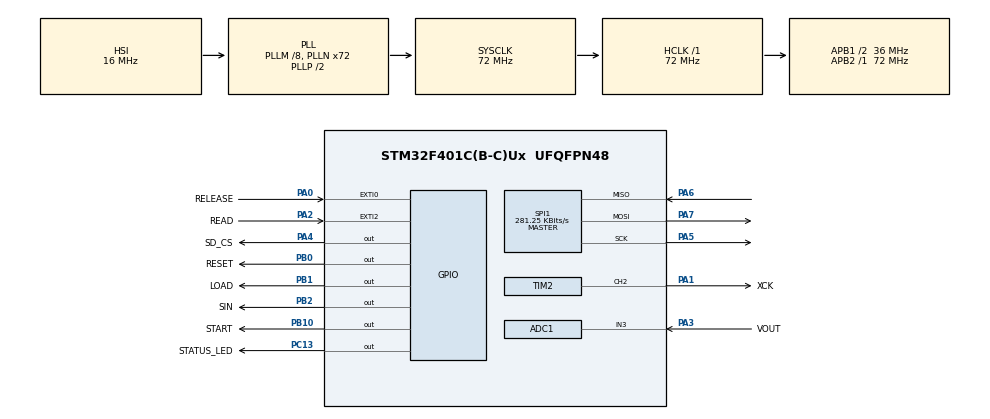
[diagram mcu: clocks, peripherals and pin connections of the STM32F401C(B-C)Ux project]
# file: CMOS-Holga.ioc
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ADC1.Channel-0\#ChannelRegularConversion=ADC_CHANNEL_3
ADC1.ClockPrescaler=ADC_CLOCK_SYNC_PCLK_DIV2
ADC1.NbrOfConversionFlag=1
ADC1.Resolution=ADC_RESOLUTION_8B
ADC1.master=1
Mcu.Family=STM32F4
Mcu.Name=STM32F401C(B-C)Ux
Mcu.Package=UFQFPN48
NVIC.EXTI0_IRQn=true\:2\:0\:true\:false\:true\:true\:true\:true
NVIC.EXTI2_IRQn=true\:3\:0\:true\:false\:true\:true\:true\:true
NVIC.PriorityGroup=NVIC_PRIORITYGROUP_4
NVIC.TIM2_IRQn=true\:0\:0\:false\:false\:true\:true\:true\:true
PA0-WKUP.GPIO_Label=RELEASE
PA0-WKUP.GPIO_ModeDefaultEXTI=GPIO_MODE_IT_FALLING
PA0-WKUP.GPIO_PuPd=GPIO_PULLUP
PA0-WKUP.Signal=GPXTI0
PA1.GPIO_Label=XCK
PA1.Signal=S_TIM2_CH2
PA13.Mode=Serial_Wire
PA13.Signal=SYS_JTMS-SWDIO
PA14.Mode=Serial_Wire
PA14.Signal=SYS_JTCK-SWCLK
PA2.GPIO_Label=READ
PA2.GPIO_ModeDefaultEXTI=GPIO_MODE_IT_RISING_FALLING
PA2.Signal=GPXTI2
PA3.GPIO_Label=VOUT
PA3.GPIO_Mode=GPIO_MODE_ANALOG
PA3.GPIO_PuPd=GPIO_NOPULL
PA3.Signal=ADCx_IN3
PA4.GPIO_Label=SD_CS
PA4.GPIO_Speed=GPIO_SPEED_FREQ_HIGH
PA4.Signal=GPIO_Output
PA5.Mode=Full_Duplex_Master
PA5.Signal=SPI1_SCK
PA6.GPIO_PuPd=GPIO_PULLUP
PA6.Mode=Full_Duplex_Master
PA6.Signal=SPI1_MISO
PA7.GPIO_PuPd=GPIO_PULLUP
PA7.Mode=Full_Duplex_Master
PA7.Signal=SPI1_MOSI
PB0.GPIO_Label=RESET
PB0.GPIO_PuPd=GPIO_PULLUP
PB0.GPIO_Speed=GPIO_SPEED_FREQ_HIGH
PB0.Signal=GPIO_Output
PB1.GPIO_Label=LOAD
PB1.GPIO_Speed=GPIO_SPEED_FREQ_HIGH
PB1.Signal=GPIO_Output
PB10.GPIO_Label=START
PB10.GPIO_Speed=GPIO_SPEED_FREQ_HIGH
PB10.Signal=GPIO_Output
PB2.GPIO_Label=SIN
PB2.GPIO_Speed=GPIO_SPEED_FREQ_HIGH
PB2.Signal=GPIO_Output
PC13-ANTI_TAMP.GPIO_Label=STATUS_LED
PC13-ANTI_TAMP.GPIO_PuPd=GPIO_PULLUP
PC13-ANTI_TAMP.PinState=GPIO_PIN_SET
PC13-ANTI_TAMP.Signal=GPIO_Output
PC14-OSC32_IN.Mode=LSE-External-Oscillator
PC14-OSC32_IN.Signal=RCC_OSC32_IN
PC15-OSC32_OUT.Mode=LSE-External-Oscillator
PC15-OSC32_OUT.Signal=RCC_OSC32_OUT
PH0\ -\ OSC_IN.Mode=HSE-External-Oscillator
PH0\ -\ OSC_IN.Signal=RCC_OSC_IN
PH1\ -\ OSC_OUT.Mode=HSE-External-Oscillator
PH1\ -\ OSC_OUT.Signal=RCC_OSC_OUT
ProjectManager.HeapSize=0x200
ProjectManager.StackSize=0x400
ProjectManager.TargetToolchain=STM32CubeIDE
RCC.48MHZClocksFreq_Value=36000000
RCC.AHBFreq_Value=72000000
RCC.APB1CLKDivider=RCC_HCLK_DIV2
RCC.APB1Freq_Value=36000000
RCC.APB1TimFreq_Value=72000000
RCC.APB2Freq_Value=72000000
RCC.APB2TimFreq_Value=72000000
RCC.CortexFreq_Value=72000000
RCC.HCLKFreq_Value=72000000
RCC.HSE_VALUE=25000000
RCC.HSI_VALUE=16000000
RCC.PLLM=8
RCC.PLLN=72
RCC.SYSCLKFreq_VALUE=72000000
RCC.SYSCLKSource=RCC_SYSCLKSOURCE_PLLCLK
RCC.VCOOutputFreq_Value=144000000
SH.ADCx_IN3.0=ADC1_IN3,IN3
SH.S_TIM2_CH2.0=TIM2_CH2,PWM Generation2 CH2
SPI1.BaudRatePrescaler=SPI_BAUDRATEPRESCALER_256
SPI1.CalculateBaudRate=281.25 KBits/s
SPI1.Direction=SPI_DIRECTION_2LINES
SPI1.Mode=SPI_MODE_MASTER
SPI1.VirtualType=VM_MASTER
TIM2.Channel-PWM\ Generation2\ CH2=TIM_CHANNEL_2
TIM2.OCFastMode_PWM-PWM\ Generation2\ CH2=TIM_OCFAST_ENABLE
TIM2.Period=18
TIM2.Prescaler=72
VP_FATFS_VS_Generic.Mode=User_defined
board=custom

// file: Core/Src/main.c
/* USER CODE BEGIN Header */
/**
  ******************************************************************************
  * @file           : main.c
  * @brief          : Main program body
  ******************************************************************************
  * @attention
  *
  * Copyright (c) 2023 STMicroelectronics.
  * All rights reserved.
  *
  * This software is licensed under terms that can be found in the LICENSE file
  * in the root directory of this software component.
  * If no LICENSE file comes with this software, it is provided AS-IS.
  *
  ******************************************************************************
  */
/* USER CODE END Header */
#include "main.h"
#include "fatfs.h"

/* USER CODE BEGIN Includes */
#include <stdint.h>
#include <stdio.h>
/* USER CODE END Includes */

/* USER CODE BEGIN PD */
#define IMAGE_WIDTH 128
#define IMAGE_HEIGHT 126
#define IMAGE_SIZE 16128
/* 128 x 122 = 15616 */
#define IMAGE_DATA 15616
/* USER CODE END PD */

/* USER CODE BEGIN PM */
#define RESET_low() HAL_GPIO_WritePin(RESET_GPIO_Port, RESET_Pin, GPIO_PIN_RESET)
#define RESET_high() HAL_GPIO_WritePin(RESET_GPIO_Port, RESET_Pin, GPIO_PIN_SET)

#define START_low() HAL_GPIO_WritePin(START_GPIO_Port, START_Pin, GPIO_PIN_RESET)
#define START_high() HAL_GPIO_WritePin(START_GPIO_Port, START_Pin, GPIO_PIN_SET)

#define READ() HAL_GPIO_ReadPin(READ_GPIO_Port, READ_Pin)

#define LOAD_low() HAL_GPIO_WritePin(LOAD_GPIO_Port, LOAD_Pin, GPIO_PIN_RESET)
#define LOAD_high() HAL_GPIO_WritePin(LOAD_GPIO_Port, LOAD_Pin, GPIO_PIN_SET)

#define SIN_put(x) HAL_GPIO_WritePin(SIN_GPIO_Port, SIN_Pin, x)
#define SIN_low() HAL_GPIO_WritePin(SIN_GPIO_Port, SIN_Pin, GPIO_PIN_RESET)

#define LED_on() HAL_GPIO_WritePin(STATUS_LED_GPIO_Port, STATUS_LED_Pin, GPIO_PIN_RESET)
#define LED_off() HAL_GPIO_WritePin(STATUS_LED_GPIO_Port, STATUS_LED_Pin, GPIO_PIN_SET)
/* USER CODE END PM */

ADC_HandleTypeDef hadc1;

SPI_HandleTypeDef hspi1;

TIM_HandleTypeDef htim2;

/* USER CODE BEGIN PV */
volatile int capturing = 0;
volatile int clock_phase;
volatile uint8_t image[IMAGE_SIZE];
volatile uint16_t image_cursor;
volatile total_gain_t gain_config;
/* USER CODE END PV */

void SystemClock_Config(void);
static void MX_GPIO_Init(void);
static void MX_SPI1_Init(void);
static void MX_ADC1_Init(void);
static void MX_TIM2_Init(void);
/* USER CODE BEGIN PFP */
void capture(void);
void delay_us(uint32_t us);
uint8_t get_average_brightness(void);
void load_register(uint8_t addr, uint8_t data);
void reset(void);
int save_picture(uint8_t* data);
void take_picture(total_gain_t gain);
void start_xck(void);
void stop_xck(void);
void wait_xck_fall(void);
void wait_xck_rise(void);
void wait_xck_cycle(void);
/* USER CODE END PFP */

/* USER CODE BEGIN 0 */
void capture(void)
{
  wait_xck_rise();
  START_high();
  wait_xck_cycle();
  START_low();
  wait_xck_fall();
}

void delay_us(uint32_t us)
{
  volatile uint32_t counter = 7*us;
  while(counter--);
}

uint8_t get_average_brightness(void)
{
  uint8_t average = 0;
  uint32_t sum = 0;

  for (int i = 0; i < IMAGE_DATA; i += 1)
  {
    sum += image[i];
  }
  average = sum / IMAGE_DATA;

  return average;
}

void load_register(uint8_t addr, uint8_t data)
{
  for (int i = 2; i >= 0; i--)
  {
    wait_xck_rise();
    SIN_put(addr & (1 << i));
    wait_xck_cycle();
    SIN_low();
  }

  for (int i = 7; i >= 1; i--)
  {
    wait_xck_rise();
    SIN_put(data & (1 << i));
    wait_xck_cycle();
    SIN_low();
  }

  wait_xck_rise();
  SIN_put(data & 0x01);
  LOAD_high();
  wait_xck_fall();
  SIN_low();
  wait_xck_rise();
  LOAD_low();
}

void reset(void)
{
  wait_xck_rise();
  RESET_low();
  wait_xck_cycle();
  RESET_high();
  wait_xck_fall();
}

int save_picture(uint8_t* data)
{
  FATFS fatfsh;
  FIL fileh;
  FILINFO fno;
  FRESULT fres;
  uint8_t header[15] = { 0x50, 0x35, 0x0A, 0x31, 0x32, 0x38, 0x20, 0x31, 0x32, 0x36, 0x0A, 0x32, 0x35, 0x35, 0x0A };
  char filename[13] = { 0 };
  int available = 0;
  unsigned int id = 1;

  fres = f_mount(&fatfsh, "", 1);
  if (FR_OK != fres)
  {
    goto exit;
  }

  fres = f_mkdir("RAW");
  if (FR_OK != fres)
  {
    if (FR_EXIST != fres)
    {
      goto exit;
    }
  }

  while (0 == available)
  {
    snprintf(filename, 13, "RAW/%04u.pgm", id);
    fres = f_stat(filename, &fno);
    switch (fres)
    {
      case FR_NO_FILE:
        available = 1;
        break;
      case FR_OK:
        id += 1;
        break;
      default:
        break;
    }
  }

  fres = f_open(&fileh, filename, FA_WRITE | FA_OPEN_ALWAYS | FA_CREATE_ALWAYS);
  if(FR_OK == fres)
  {
    UINT tmp = 0;

    fres = f_write(&fileh, header, 15, &tmp);
    if(FR_OK != fres)
    {
      // Error.
    }
    fres = f_write(&fileh, data, IMAGE_SIZE, &tmp);
    if(FR_OK != fres)
    {
      // Error.
    }
    f_close(&fileh);
  }

exit:
  f_mount(NULL, "", 0);
  return fres;
}

void take_picture(total_gain_t gain)
{
  uint8_t reg_1_value = 0xe0;

  RESET_high();
  START_low();
  LOAD_low();
  SIN_low();

  wait_xck_cycle();
  wait_xck_cycle();

  reset();
  wait_xck_cycle();
  wait_xck_cycle();

  load_register(0x00, 0x9f);

  reg_1_value |= gain;

  load_register(0x01, reg_1_value);
  load_register(0x02, 0x01);
  load_register(0x03, 0x00);
  load_register(0x04, 0x01);
  load_register(0x05, 0x00);
  load_register(0x06, 0x01);
  load_register(0x07, 0x03);

  wait_xck_cycle();
  capture();
}

void start_xck(void)
{
  htim2.Instance->CCR2 = 9;
  HAL_TIM_Base_Start_IT(&htim2);
  HAL_TIM_PWM_Start_IT(&htim2, TIM_CHANNEL_2);
}

void stop_xck(void)
{
  HAL_TIM_Base_Stop_IT(&htim2);
  HAL_TIM_PWM_Stop_IT(&htim2, TIM_CHANNEL_2);
}

void wait_xck_fall(void)
{
  while(1 == clock_phase);
}

void wait_xck_rise(void)
{
  while(0 == clock_phase);
}

void wait_xck_cycle(void)
{
  wait_xck_rise();
  wait_xck_fall();
}
/* USER CODE END 0 */

int main(void)
{

  /* MCU Configuration--------------------------------------------------------*/

  /* Reset of all peripherals, Initializes the Flash interface and the Systick. */
  HAL_Init();

  /* Configure the system clock */
  SystemClock_Config();

  /* Initialize all configured peripherals */
  MX_GPIO_Init();
  MX_SPI1_Init();
  MX_FATFS_Init();
  MX_ADC1_Init();
  MX_TIM2_Init();
  /* USER CODE BEGIN 2 */
  start_xck();
  gain_config = TG_14_0;
  take_picture(gain_config);
  /* USER CODE END 2 */

  /* Infinite loop */
  while (1)
  {

  }
}

void SystemClock_Config(void)
{
  RCC_OscInitTypeDef RCC_OscInitStruct = {0};
  RCC_ClkInitTypeDef RCC_ClkInitStruct = {0};

  /** Configure the main internal regulator output voltage
  */
  __HAL_RCC_PWR_CLK_ENABLE();
  __HAL_PWR_VOLTAGESCALING_CONFIG(PWR_REGULATOR_VOLTAGE_SCALE2);

  /** Initializes the RCC Oscillators according to the specified parameters
  * in the RCC_OscInitTypeDef structure.
  */
  RCC_OscInitStruct.OscillatorType = RCC_OSCILLATORTYPE_HSI;
  RCC_OscInitStruct.HSIState = RCC_HSI_ON;
  RCC_OscInitStruct.HSICalibrationValue = RCC_HSICALIBRATION_DEFAULT;
  RCC_OscInitStruct.PLL.PLLState = RCC_PLL_ON;
  RCC_OscInitStruct.PLL.PLLSource = RCC_PLLSOURCE_HSI;
  RCC_OscInitStruct.PLL.PLLM = 8;
  RCC_OscInitStruct.PLL.PLLN = 72;
  RCC_OscInitStruct.PLL.PLLP = RCC_PLLP_DIV2;
  RCC_OscInitStruct.PLL.PLLQ = 4;
  if (HAL_RCC_OscConfig(&RCC_OscInitStruct) != HAL_OK)
  {
    Error_Handler();
  }

  /** Initializes the CPU, AHB and APB buses clocks
  */
  RCC_ClkInitStruct.ClockType = RCC_CLOCKTYPE_HCLK|RCC_CLOCKTYPE_SYSCLK
                              |RCC_CLOCKTYPE_PCLK1|RCC_CLOCKTYPE_PCLK2;
  RCC_ClkInitStruct.SYSCLKSource = RCC_SYSCLKSOURCE_PLLCLK;
  RCC_ClkInitStruct.AHBCLKDivider = RCC_SYSCLK_DIV1;
  RCC_ClkInitStruct.APB1CLKDivider = RCC_HCLK_DIV2;
  RCC_ClkInitStruct.APB2CLKDivider = RCC_HCLK_DIV1;

  if (HAL_RCC_ClockConfig(&RCC_ClkInitStruct, FLASH_LATENCY_2) != HAL_OK)
  {
    Error_Handler();
  }
}

static void MX_ADC1_Init(void)
{

  ADC_ChannelConfTypeDef sConfig = {0};

  /** Configure the global features of the ADC (Clock, Resolution, Data Alignment and number of conversion)
  */
  hadc1.Instance = ADC1;
  hadc1.Init.ClockPrescaler = ADC_CLOCK_SYNC_PCLK_DIV2;
  hadc1.Init.Resolution = ADC_RESOLUTION_8B;
  hadc1.Init.ScanConvMode = DISABLE;
  hadc1.Init.ContinuousConvMode = DISABLE;
  hadc1.Init.DiscontinuousConvMode = DISABLE;
  hadc1.Init.ExternalTrigConvEdge = ADC_EXTERNALTRIGCONVEDGE_NONE;
  hadc1.Init.ExternalTrigConv = ADC_SOFTWARE_START;
  hadc1.Init.DataAlign = ADC_DATAALIGN_RIGHT;
  hadc1.Init.NbrOfConversion = 1;
  hadc1.Init.DMAContinuousRequests = DISABLE;
  hadc1.Init.EOCSelection = ADC_EOC_SINGLE_CONV;
  if (HAL_ADC_Init(&hadc1) != HAL_OK)
  {
    Error_Handler();
  }

  /** Configure for the selected ADC regular channel its corresponding rank in the sequencer and its sample time.
  */
  sConfig.Channel = ADC_CHANNEL_3;
  sConfig.Rank = 1;
  sConfig.SamplingTime = ADC_SAMPLETIME_3CYCLES;
  if (HAL_ADC_ConfigChannel(&hadc1, &sConfig) != HAL_OK)
  {
    Error_Handler();
  }

}

static void MX_SPI1_Init(void)
{

  /* SPI1 parameter configuration*/
  hspi1.Instance = SPI1;
  hspi1.Init.Mode = SPI_MODE_MASTER;
  hspi1.Init.Direction = SPI_DIRECTION_2LINES;
  hspi1.Init.DataSize = SPI_DATASIZE_8BIT;
  hspi1.Init.CLKPolarity = SPI_POLARITY_LOW;
  hspi1.Init.CLKPhase = SPI_PHASE_1EDGE;
  hspi1.Init.NSS = SPI_NSS_SOFT;
  hspi1.Init.BaudRatePrescaler = SPI_BAUDRATEPRESCALER_256;
  hspi1.Init.FirstBit = SPI_FIRSTBIT_MSB;
  hspi1.Init.TIMode = SPI_TIMODE_DISABLE;
  hspi1.Init.CRCCalculation = SPI_CRCCALCULATION_DISABLE;
  hspi1.Init.CRCPolynomial = 10;
  if (HAL_SPI_Init(&hspi1) != HAL_OK)
  {
    Error_Handler();
  }

}

static void MX_TIM2_Init(void)
{

  TIM_MasterConfigTypeDef sMasterConfig = {0};
  TIM_OC_InitTypeDef sConfigOC = {0};

  htim2.Instance = TIM2;
  htim2.Init.Prescaler = 72;
  htim2.Init.CounterMode = TIM_COUNTERMODE_UP;
  htim2.Init.Period = 18;
  htim2.Init.ClockDivision = TIM_CLOCKDIVISION_DIV1;
  htim2.Init.AutoReloadPreload = TIM_AUTORELOAD_PRELOAD_DISABLE;
  if (HAL_TIM_PWM_Init(&htim2) != HAL_OK)
  {
    Error_Handler();
  }
  sMasterConfig.MasterOutputTrigger = TIM_TRGO_RESET;
  sMasterConfig.MasterSlaveMode = TIM_MASTERSLAVEMODE_DISABLE;
  if (HAL_TIMEx_MasterConfigSynchronization(&htim2, &sMasterConfig) != HAL_OK)
  {
    Error_Handler();
  }
  sConfigOC.OCMode = TIM_OCMODE_PWM1;
  sConfigOC.Pulse = 0;
  sConfigOC.OCPolarity = TIM_OCPOLARITY_HIGH;
  sConfigOC.OCFastMode = TIM_OCFAST_ENABLE;
  if (HAL_TIM_PWM_ConfigChannel(&htim2, &sConfigOC, TIM_CHANNEL_2) != HAL_OK)
  {
    Error_Handler();
  }
  HAL_TIM_MspPostInit(&htim2);

}

static void MX_GPIO_Init(void)
{
  GPIO_InitTypeDef GPIO_InitStruct = {0};

  /* GPIO Ports Clock Enable */
  __HAL_RCC_GPIOC_CLK_ENABLE();
  __HAL_RCC_GPIOH_CLK_ENABLE();
  __HAL_RCC_GPIOA_CLK_ENABLE();
  __HAL_RCC_GPIOB_CLK_ENABLE();

  /*Configure GPIO pin Output Level */
  HAL_GPIO_WritePin(STATUS_LED_GPIO_Port, STATUS_LED_Pin, GPIO_PIN_SET);

  /*Configure GPIO pin Output Level */
  HAL_GPIO_WritePin(SD_CS_GPIO_Port, SD_CS_Pin, GPIO_PIN_RESET);

  /*Configure GPIO pin Output Level */
  HAL_GPIO_WritePin(GPIOB, RESET_Pin|LOAD_Pin|SIN_Pin|START_Pin, GPIO_PIN_RESET);

  /*Configure GPIO pin : STATUS_LED_Pin */
  GPIO_InitStruct.Pin = STATUS_LED_Pin;
  GPIO_InitStruct.Mode = GPIO_MODE_OUTPUT_PP;
  GPIO_InitStruct.Pull = GPIO_PULLUP;
  GPIO_InitStruct.Speed = GPIO_SPEED_FREQ_LOW;
  HAL_GPIO_Init(STATUS_LED_GPIO_Port, &GPIO_InitStruct);

  /*Configure GPIO pin : RELEASE_Pin */
  GPIO_InitStruct.Pin = RELEASE_Pin;
  GPIO_InitStruct.Mode = GPIO_MODE_IT_FALLING;
  GPIO_InitStruct.Pull = GPIO_PULLUP;
  HAL_GPIO_Init(RELEASE_GPIO_Port, &GPIO_InitStruct);

  /*Configure GPIO pin : READ_Pin */
  GPIO_InitStruct.Pin = READ_Pin;
  GPIO_InitStruct.Mode = GPIO_MODE_IT_RISING_FALLING;
  GPIO_InitStruct.Pull = GPIO_NOPULL;
  HAL_GPIO_Init(READ_GPIO_Port, &GPIO_InitStruct);

  /*Configure GPIO pin : SD_CS_Pin */
  GPIO_InitStruct.Pin = SD_CS_Pin;
  GPIO_InitStruct.Mode = GPIO_MODE_OUTPUT_PP;
  GPIO_InitStruct.Pull = GPIO_NOPULL;
  GPIO_InitStruct.Speed = GPIO_SPEED_FREQ_HIGH;
  HAL_GPIO_Init(SD_CS_GPIO_Port, &GPIO_InitStruct);

  /*Configure GPIO pin : RESET_Pin */
  GPIO_InitStruct.Pin = RESET_Pin;
  GPIO_InitStruct.Mode = GPIO_MODE_OUTPUT_PP;
  GPIO_InitStruct.Pull = GPIO_PULLUP;
  GPIO_InitStruct.Speed = GPIO_SPEED_FREQ_HIGH;
  HAL_GPIO_Init(RESET_GPIO_Port, &GPIO_InitStruct);

  /*Configure GPIO pins : LOAD_Pin SIN_Pin START_Pin */
  GPIO_InitStruct.Pin = LOAD_Pin|SIN_Pin|START_Pin;
  GPIO_InitStruct.Mode = GPIO_MODE_OUTPUT_PP;
  GPIO_InitStruct.Pull = GPIO_NOPULL;
  GPIO_InitStruct.Speed = GPIO_SPEED_FREQ_HIGH;
  HAL_GPIO_Init(GPIOB, &GPIO_InitStruct);

  /*Configure GPIO pins : PB12 PB13 PB14 PB15
                           PB3 PB4 PB5 PB6
                           PB7 PB8 PB9 */
  GPIO_InitStruct.Pin = GPIO_PIN_12|GPIO_PIN_13|GPIO_PIN_14|GPIO_PIN_15
                          |GPIO_PIN_3|GPIO_PIN_4|GPIO_PIN_5|GPIO_PIN_6
                          |GPIO_PIN_7|GPIO_PIN_8|GPIO_PIN_9;
  GPIO_InitStruct.Mode = GPIO_MODE_ANALOG;
  GPIO_InitStruct.Pull = GPIO_NOPULL;
  HAL_GPIO_Init(GPIOB, &GPIO_InitStruct);

  /*Configure GPIO pins : PA8 PA9 PA10 PA11
                           PA12 PA15 */
  GPIO_InitStruct.Pin = GPIO_PIN_8|GPIO_PIN_9|GPIO_PIN_10|GPIO_PIN_11
                          |GPIO_PIN_12|GPIO_PIN_15;
  GPIO_InitStruct.Mode = GPIO_MODE_ANALOG;
  GPIO_InitStruct.Pull = GPIO_NOPULL;
  HAL_GPIO_Init(GPIOA, &GPIO_InitStruct);

  /* EXTI interrupt init*/
  HAL_NVIC_SetPriority(EXTI0_IRQn, 2, 0);
  HAL_NVIC_EnableIRQ(EXTI0_IRQn);

  HAL_NVIC_SetPriority(EXTI2_IRQn, 3, 0);
  HAL_NVIC_EnableIRQ(EXTI2_IRQn);

}

/* USER CODE BEGIN 4 */
void HAL_GPIO_EXTI_Callback(uint16_t GPIO_Pin)
{
  if (1 == capturing)
  {
    return;
  }
  switch (GPIO_Pin)
  {
    case READ_Pin:
      if (READ())
      {
        LED_on();

        while (image_cursor < IMAGE_SIZE)
        {
          capturing = 1;
          wait_xck_cycle();
          HAL_ADC_Start(&hadc1);
          HAL_ADC_PollForConversion(&hadc1, 0);
          image[image_cursor++] = hadc1.Instance->DR;
          capturing = 0;
        }
      }
      else
      {
        uint8_t average_brightness = get_average_brightness();

        // Picture taken.
        image_cursor = 0;
        wait_xck_cycle();
        reset();

        if (average_brightness <= 0x7f && gain_config < TG_MAX)
        {
          gain_config += 1;
          take_picture(gain_config);
        }
        else
        {
          gain_config = TG_14_0;
          save_picture((uint8_t*)image);
          LED_off();
          HAL_SuspendTick();
          HAL_PWR_EnterSTOPMode(PWR_LOWPOWERREGULATOR_ON, PWR_STOPENTRY_WFI);
          HAL_ResumeTick();
        }
      }
      break;
    case RELEASE_Pin:
      gain_config = TG_14_0;
      take_picture(gain_config);
      break;
    default:
      break;
  }
}

void HAL_TIM_PWM_PulseFinishedCallback(TIM_HandleTypeDef *htim)
{
  if (htim->Instance == TIM2)
  {
    clock_phase = 1;
  }
}

void HAL_TIM_PeriodElapsedCallback(TIM_HandleTypeDef *htim)
{
  if (htim->Instance == TIM2)
  {
    clock_phase = 0;
  }
}
/* USER CODE END 4 */

void Error_Handler(void)
{
  __disable_irq();
  while (1)
  {
  }
}
